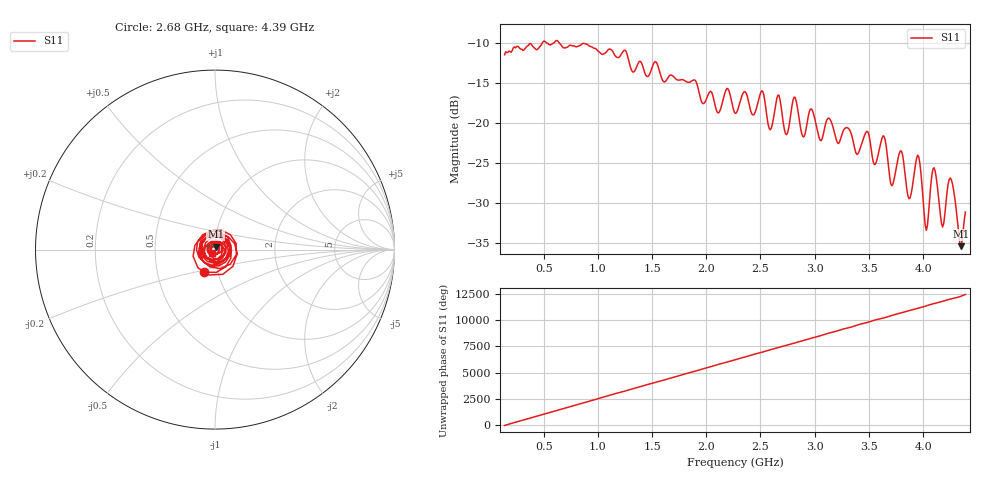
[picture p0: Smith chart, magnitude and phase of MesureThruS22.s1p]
! 140 4400 10
# MHz S MA R 50.0
!freq ReS11 ImS11
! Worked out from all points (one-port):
!   426 points, 140 MHz to 4.39 GHz, reference 50 ohm
!   lowest |S11| = -35.4 dB at 4.35 GHz (marker M1), VSWR 1.03, Z = 50.3 + j1.68 ohm
!   |S11| at or under -10 dB: start of sweep to 487.4 MHz; 528.2 MHz to 591.9 MHz (63.65 MHz wide, 11.4 % of centre); 644.8 MHz to end of sweep
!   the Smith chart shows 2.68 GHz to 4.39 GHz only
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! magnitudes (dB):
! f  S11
! 140 MHz  -11.5
! 680 MHz  -10.6
! 1.21 GHz  -11.5
! 1.74 GHz  -14.6
! 2.27 GHz  -18.8
! 2.51 GHz  -16.0
! 2.59 GHz  -20.8
! 2.67 GHz  -16.5
! 2.74 GHz  -21.4
! 2.8 GHz  -17.1
! 2.89 GHz  -21.7
! 2.97 GHz  -18.2
! 3.05 GHz  -22.1
! 3.33 GHz  -21.1
! 3.39 GHz  -23.9
! 3.49 GHz  -21.1
! 3.56 GHz  -25.1
! 3.64 GHz  -21.6
! 3.71 GHz  -27.8
! 3.8 GHz  -23.5
! 3.86 GHz  -29.1
! 3.95 GHz  -24.0
! 4.03 GHz  -33.4
! 4.1 GHz  -25.6
! 4.18 GHz  -33.0
! 4.25 GHz  -26.9
! 4.35 GHz  -35.4
! 4.39 GHz  -31.1
